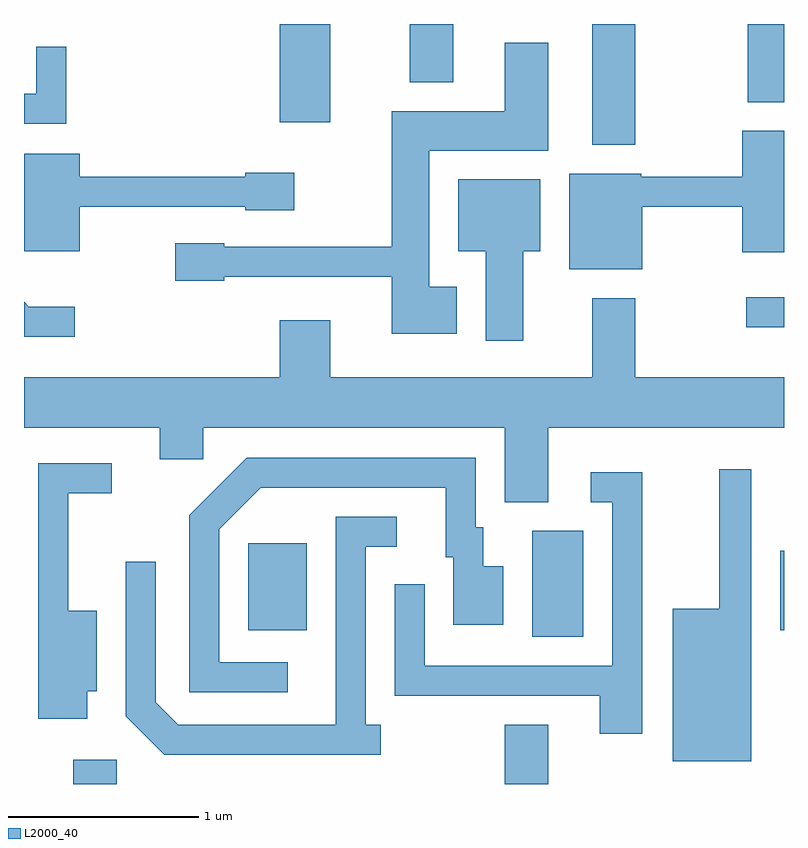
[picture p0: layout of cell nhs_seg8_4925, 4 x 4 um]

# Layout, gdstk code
import gdstk
lib = gdstk.Library(unit=1e-6, precision=1e-09)
def R(c, l, rs):  # rectangles x0, y0, x1, y1
    for r in rs: c.add(gdstk.rectangle(r[:2], r[2:], *l))
def P(c, l, *ps):  # polygons
    for p in ps: c.add(gdstk.Polygon(p, *l))
L2000_40 = (2000, 40)

nhs_seg8_4925 = lib.new_cell('nhs_seg8_4925')
R(nhs_seg8_4925, L2000_40, [(333.871,1812.342,334.099,1812.469), (336.141,1812.342,336.369,1812.654), (336.286,1813.116,336.554,1813.674), (334.791,1813.151,335.099,1813.609), (337.591,1813.151,337.611,1813.569), (337.413,1814.746,337.611,1814.904), (336.601,1815.706,336.829,1816.342), (334.956,1815.826,335.224,1816.342), (337.421,1815.931,337.611,1816.342), (335.641,1816.036,335.869,1816.342)])
P(nhs_seg8_4925, L2000_40, [(335.889,1814.959),(335.744,1814.959),(335.744,1815.676),(336.369,1815.676),(336.369,1816.244),(336.141,1816.244),(336.141,1815.884),(335.546,1815.884),(335.546,1815.169),(334.664,1815.169),(334.664,1815.189),(334.406,1815.189),(334.406,1814.991),(334.664,1814.991),(334.664,1815.011),(335.546,1815.011),(335.546,1814.711),(335.889,1814.711)],
  [(333.834,1816.223),(333.676,1816.223),(333.676,1815.974),(333.611,1815.974),(333.611,1815.816),(333.834,1815.816)],
  [(336.864,1815.381),(337.391,1815.381),(337.391,1815.141),(337.611,1815.141),(337.611,1815.779),(337.391,1815.779),(337.391,1815.539),(336.86,1815.539),(336.86,1815.554),(336.481,1815.554),(336.481,1815.051),(336.864,1815.051)],
  [(333.904,1815.381),(334.776,1815.381),(334.776,1815.361),(335.034,1815.361),(335.034,1815.559),(334.776,1815.559),(334.776,1815.539),(333.904,1815.539),(333.904,1815.659),(333.611,1815.659),(333.611,1815.146),(333.904,1815.146)],
  [(336.239,1815.146),(336.329,1815.146),(336.329,1815.524),(335.896,1815.524),(335.896,1815.146),(336.041,1815.146),(336.041,1814.676),(336.239,1814.676)],
  [(336.369,1814.216),(337.611,1814.216),(337.611,1814.484),(336.829,1814.484),(336.829,1814.899),(336.601,1814.899),(336.601,1814.484),(335.224,1814.484),(335.224,1814.784),(334.956,1814.784),(334.956,1814.484),(333.611,1814.484),(333.611,1814.216),(334.326,1814.216),(334.326,1814.051),(334.554,1814.051),(334.554,1814.216),(336.141,1814.216),(336.141,1813.826),(336.369,1813.826)],
  [(333.878,1814.854),(333.637,1814.854),(333.611,1814.88),(333.611,1814.696),(333.878,1814.696)],
  [(334.998,1812.984),(334.639,1812.984),(334.639,1813.684),(334.857,1813.901),(335.831,1813.901),(335.831,1813.536),(335.871,1813.536),(335.871,1813.181),(336.134,1813.181),(336.134,1813.489),(336.029,1813.489),(336.029,1813.694),(335.989,1813.694),(335.989,1814.059),(334.784,1814.059),(334.481,1813.757),(334.481,1812.826),(334.998,1812.826)],
  [(333.944,1812.831),(333.994,1812.831),(333.994,1813.254),(333.844,1813.254),(333.844,1813.871),(334.073,1813.871),(334.073,1814.029),(333.686,1814.029),(333.686,1812.686),(333.944,1812.686)],
  [(337.439,1813.998),(337.271,1813.998),(337.271,1813.264),(337.026,1813.264),(337.026,1812.461),(337.439,1812.461)],
  [(336.864,1813.984),(336.593,1813.984),(336.593,1813.826),(336.706,1813.826),(336.706,1812.964),(335.719,1812.964),(335.719,1813.393),(335.561,1813.393),(335.561,1812.806),(336.641,1812.806),(336.641,1812.606),(336.864,1812.606)],
  [(335.488,1812.654),(335.409,1812.654),(335.409,1813.591),(335.573,1813.591),(335.573,1813.749),(335.251,1813.749),(335.251,1812.654),(334.422,1812.654),(334.304,1812.772),(334.304,1813.513),(334.146,1813.513),(334.146,1812.699),(334.349,1812.496),(335.488,1812.496)])

lib.write_gds('nhs_seg8_4925.gds')
